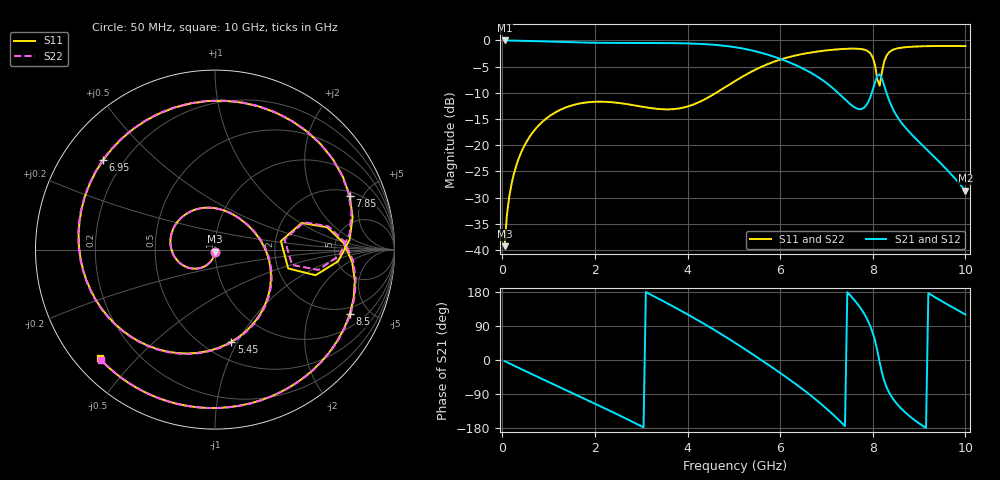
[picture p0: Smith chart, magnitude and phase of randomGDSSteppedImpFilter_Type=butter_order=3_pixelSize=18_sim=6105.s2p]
! freq	dB(S11)	phase(S11)	dB(S12)	phase(S12)
!  dB(S21)	phase(S21)	dB(S22)	phase(S22)
!S-par simulation data
#  GHz  S  DB  R 50
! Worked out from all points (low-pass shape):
!   200 points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, 50 MHz to 10 GHz, reference 50 ohm
!   highest |S21| = 0.00 dB at 50 MHz (marker M1); lowest = -28.7 dB at 10 GHz (marker M2)
!   |S21| within 3 dB of the highest: start of sweep to 5.834 GHz
!   lowest |S11| = -39.3 dB at 50 MHz (marker M3), VSWR 1.02, Z = 49.9 - j1.08 ohm
!   |S11| at or under -10 dB: start of sweep to 4.618 GHz
!   |S22| runs from -39.3 to -1.1 dB; largest |S21 - S12| = 0
!   S11 on the Smith chart (normalised r, x): 50 MHz: 1.00, -0.02; 5.45 GHz: 0.67, -0.94; 6.95 GHz: 0.13, +0.35; 7.85 GHz: 2.30, +3.95; 8.5 GHz: 1.61, -3.76; 10 GHz: 0.07, -0.39
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0.05  -39.29 -92.4  -0.00 -3.0  -0.00 -3.0  -39.29 -92.4
0.2  -27.38 -101.7  -0.03 -11.8  -0.03 -11.8  -27.38 -101.7
0.5  -19.72 -119.8  -0.09 -29.3  -0.09 -29.3  -19.72 -119.7
1.15  -13.72 -157.4  -0.27 -66.7  -0.27 -66.7  -13.72 -157.2
1.75  -11.92 168.2  -0.41 -100.9  -0.41 -100.9  -11.92 168.7
2.65  -12.11 115.7  -0.47 -153.4  -0.47 -153.4  -12.10 116.6
3.4  -13.11 68.9  -0.48 160.2  -0.48 160.2  -13.11 70.5
4.3  -11.57 8.0  -0.68 99.5  -0.68 99.5  -11.56 9.8
5.05  -7.63 -47.9  -1.32 43.5  -1.32 43.5  -7.63 -46.7
5.45  -5.65 -79.9  -2.03 11.6  -2.03 11.6  -5.65 -78.9
6.05  -3.53 -130.5  -3.68 -38.4  -3.68 -38.4  -3.53 -129.6
6.7  -2.26 168.3  -6.36 -97.5  -6.36 -97.5  -2.25 169.3
6.95  -1.95 141.3  -7.80 -122.9  -7.80 -122.9  -1.95 142.5
7.45  -1.59 79.5  -11.67 179.1  -11.67 179.1  -1.58 81.2
7.85  -1.85 21.6  -12.50 114.5  -12.50 114.5  -1.84 23.8
8.05  -4.76 -14.3  -7.95 50.2  -7.95 50.2  -4.63 -11.1
8.15  -8.63 7.4  -6.47 -6.5  -6.47 -6.5  -8.16 8.3
8.25  -3.92 11.3  -8.71 -55.6  -8.71 -55.6  -3.82 11.6
8.35  -2.30 -5.2  -11.37 -85.0  -11.37 -85.0  -2.26 -4.4
8.5  -1.59 -25.5  -14.16 -112.7  -14.16 -112.7  -1.58 -24.5
9.15  -1.10 -84.7  -20.68 -179.6  -20.68 -179.6  -1.09 -83.7
10  -1.07 -136.7  -28.69 120.0  -28.69 120.0  -1.07 -135.9
